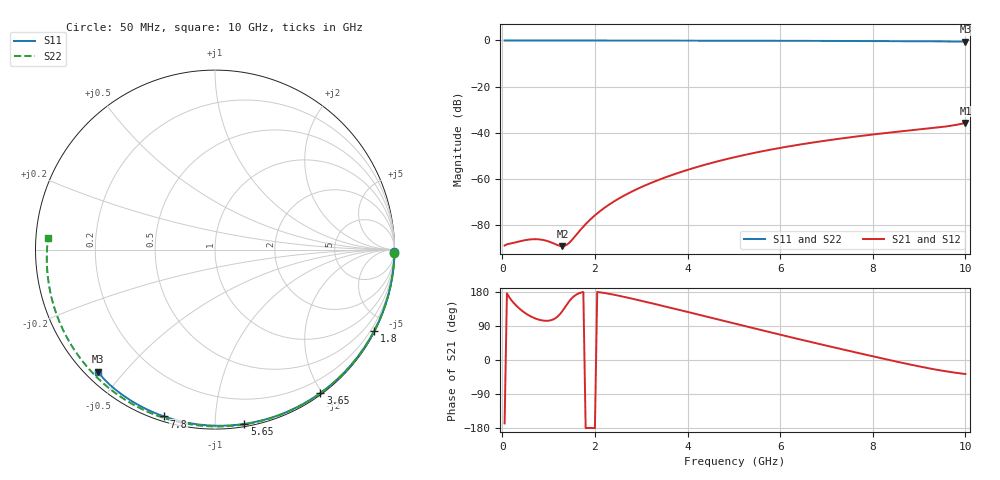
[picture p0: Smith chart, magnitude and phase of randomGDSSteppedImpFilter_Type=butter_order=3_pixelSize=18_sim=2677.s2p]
! freq	dB(S11)	phase(S11)	dB(S12)	phase(S12)
!  dB(S21)	phase(S21)	dB(S22)	phase(S22)
!S-par simulation data
#  GHz  S  DB  R 50
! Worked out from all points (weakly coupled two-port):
!   200 points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, 50 MHz to 10 GHz, reference 50 ohm
!   highest |S21| = -35.71 dB at 10 GHz (marker M1); lowest = -89.1 dB at 1.3 GHz (marker M2)
!   lowest |S11| = -0.5 dB at 10 GHz (marker M3), VSWR 32.76, Z = 1.8 - j21.3 ohm
!   |S11| at or under -10 dB: nowhere
!   |S22| runs from -0.6 to 0.0 dB; largest |S21 - S12| = 0
!   S11 on the Smith chart (normalised r, x): 50 MHz: open; 1.8 GHz: 0.04, -4.15; 3.65 GHz: 0.02, -1.97; 5.65 GHz: 0.02, -1.18; 7.8 GHz: 0.02, -0.74; 10 GHz: 0.04, -0.43
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0.05  -0.00 -0.8  -88.81 -167.2  -88.81 -167.2  -0.00 -1.1
0.65  -0.01 -9.9  -86.11 112.9  -86.11 112.9  -0.01 -13.7
1.3  -0.02 -19.7  -89.11 129.6  -89.11 129.6  -0.03 -27.2
1.75  -0.03 -26.4  -80.63 179.4  -80.63 179.4  -0.05 -36.4
1.8  -0.03 -27.1  -79.56 -179.8  -79.56 -179.8  -0.05 -37.4
1.95  -0.04 -29.3  -76.63 -179.5  -76.63 -179.5  -0.05 -40.5
2.1  -0.04 -31.5  -74.10 178.8  -74.10 178.8  -0.05 -43.5
2.45  -0.05 -36.6  -69.27 171.3  -69.27 171.3  -0.06 -50.4
2.9  -0.06 -43.1  -64.46 159.1  -64.46 159.1  -0.08 -59.2
3.4  -0.07 -50.2  -60.21 144.7  -60.21 144.7  -0.09 -68.7
3.65  -0.07 -53.7  -58.38 137.3  -58.38 137.3  -0.10 -73.4
4.35  -0.09 -63.3  -53.98 116.4  -53.98 116.4  -0.12 -86.2
5.05  -0.11 -72.7  -50.41 95.3  -50.41 95.3  -0.15 -98.6
5.65  -0.13 -80.5  -47.86 77.3  -47.86 77.3  -0.18 -109.0
6.15  -0.15 -86.8  -46.01 62.4  -46.01 62.4  -0.21 -117.4
6.7  -0.18 -93.7  -44.23 46.4  -44.23 46.4  -0.24 -126.6
7.25  -0.21 -100.4  -42.64 30.7  -42.64 30.7  -0.29 -135.8
7.8  -0.25 -107.0  -41.22 15.3  -41.22 15.3  -0.33 -144.9
8.35  -0.29 -113.5  -39.93 0.2  -39.93 0.2  -0.39 -154.2
9.2  -0.36 -123.5  -38.15 -21.7  -38.15 -21.7  -0.49 -169.0
9.65  -0.42 -129.0  -37.06 -31.2  -37.06 -31.2  -0.55 -177.3
10  -0.53 -133.7  -35.71 -37.0  -35.71 -37.0  -0.61 176.0
